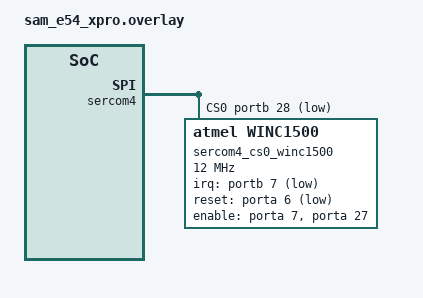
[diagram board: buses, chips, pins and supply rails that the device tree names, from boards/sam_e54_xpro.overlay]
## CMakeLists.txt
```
# SPDX-License-Identifier: Apache-2.0

cmake_minimum_required(VERSION 3.20.0)
find_package(Zephyr REQUIRED HINTS $ENV{ZEPHYR_BASE})
project(blinky)

target_sources(app PRIVATE src/main.c src/producer.c src/consumer.c) 
target_include_directories(app PRIVATE /src) 
```

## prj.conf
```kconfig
CONFIG_GPIO=y

CONFIG_SHELL=y
CONFIG_WIFI=y 
 
CONFIG_WIFI_WINC1500=y 
CONFIG_NETWORKING=y 
CONFIG_NET_IPV4=y 
CONFIG_TEST_RANDOM_GENERATOR=y 
CONFIG_DNS_RESOLVER=y

CONFIG_NET_PKT_RX_COUNT=16 
CONFIG_NET_PKT_TX_COUNT=16 
CONFIG_NET_BUF_RX_COUNT=32 
CONFIG_NET_BUF_TX_COUNT=16 
CONFIG_NET_MAX_CONTEXTS=16 

CONFIG_SPI=y
CONFIG_WIFI_OFFLOAD=y
CONFIG_NET_L2_WIFI_MGMT=y
 
CONFIG_NET_TX_STACK_SIZE=2048 
CONFIG_NET_RX_STACK_SIZE=2048 
CONFIG_NET_SHELL=y 
CONFIG_NET_L2_WIFI_SHELL=y
```

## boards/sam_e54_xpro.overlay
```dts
/
{
	aliases {
	};
};

&pinctrl {
     sercom4_spi_default: sercom4_spi_default {
		group1 {
			pinmux = <PB26D_SERCOM4_PAD1>,
				 <PB27D_SERCOM4_PAD0>,
				 <PB29D_SERCOM4_PAD3>;
		};
	};
};

&sercom4 {
     compatible = "microchip,sercom-g1-spi";
     dipo = <3>;
     dopo = <0>;
     #address-cells = <1>;
     #size-cells = <0>;
     cs-gpios = <&portb 28 GPIO_ACTIVE_LOW>;
     pinctrl-0 = <&sercom4_spi_default>;
     pinctrl-names = "default";
     status = "okay";

     sercom4_cs0_winc1500: WINC1500@0 {
          compatible = "atmel,winc1500";
          reg = <0>;
          spi-max-frequency = <12000000>;
          irq-gpios = <&portb 7 GPIO_ACTIVE_LOW>;
          reset-gpios = <&porta 6 GPIO_ACTIVE_LOW>;
          enable-gpios = <&porta 7 GPIO_ACTIVE_HIGH>,
                         <&porta 27 GPIO_ACTIVE_HIGH>;
          status = "okay";
     };
};
```

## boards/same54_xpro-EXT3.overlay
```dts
/
{
	aliases {
	};
};

&gmac {
    status = "disabled";
};

&pinctrl {
     sercom6_spi_overlay: sercom6_spi_overlay {
		group1 {
			pinmux = <PC5C_SERCOM6_PAD1>,
				 <PC4C_SERCOM6_PAD0>,
				 <PC7C_SERCOM6_PAD3>;
		};
	};
};

&sercom6 {
     compatible = "atmel,sam0-spi";
     dipo = <3>;
     dopo = <0>;
     #address-cells = <1>;
     #size-cells = <0>;
     cs-gpios = <&portc 14 GPIO_ACTIVE_LOW>;
     pinctrl-0 = <&sercom6_spi_overlay>;
     pinctrl-names = "default";
     status = "okay";

     sercom7_cs0_winc1500: WINC1500@0 {
          compatible = "atmel,winc1500";
          reg = <0>;
          spi-max-frequency = <12000000>;
          irq-gpios = <&portc 30 GPIO_ACTIVE_LOW>;
          reset-gpios = <&portc 1 GPIO_ACTIVE_LOW>;
          enable-gpios = <&portc 10 GPIO_ACTIVE_HIGH>,
                         <&portc 31 GPIO_ACTIVE_HIGH>;
          status = "okay";
     };
};
```

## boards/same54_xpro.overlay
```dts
/
{
	aliases {
	};
};

&gmac {
    status = "disabled";
};

&sercom4 {
     compatible = "atmel,sam0-spi";
     dipo = <3>;
     dopo = <0>;
     #address-cells = <1>;
     #size-cells = <0>;
     cs-gpios = <&portb 28 GPIO_ACTIVE_LOW>;
     pinctrl-0 = <&sercom4_spi_default>;
     pinctrl-names = "default";
     status = "okay";

     sercom4_cs0_winc1500: WINC1500@0 {
          compatible = "atmel,winc1500";
          reg = <0>;
          spi-max-frequency = <12000000>;
          irq-gpios = <&portb 7 GPIO_ACTIVE_LOW>;
          reset-gpios = <&porta 6 GPIO_ACTIVE_LOW>;
          enable-gpios = <&porta 7 GPIO_ACTIVE_HIGH>,
                         <&porta 27 GPIO_ACTIVE_HIGH>;
          status = "okay";
     };
};
```

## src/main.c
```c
/*
 * Copyright (c) 2016 Intel Corporation
 *
 * SPDX-License-Identifier: Apache-2.0
 */

#include <stdio.h>
#include <zephyr/kernel.h>
#include <zephyr/drivers/gpio.h>
#include "producer.h" 
#include "consumer.h"

/* 
 * Zephyr Thread defines 
*/ 
#define STACKSIZE 256 
#define PRIORITY 7 
K_THREAD_STACK_DEFINE(producerThreadstack_area, STACKSIZE); 
struct k_thread producerThread_data;
K_THREAD_STACK_DEFINE(consumerThreadstack_area, STACKSIZE); 
struct k_thread consumerThread_data; 


/* The devicetree node identifier for the "led0" alias. */
#define LED0_NODE DT_ALIAS(led0)

/*
 * A build error on this line means your board is unsupported.
 * See the sample documentation for information on how to fix this.
 */
static const struct gpio_dt_spec led = GPIO_DT_SPEC_GET(LED0_NODE, gpios);

struct k_msgq consumerQueue; 
char taskCommsBuffer[4 * sizeof(uint32_t)];

int main(void)
{
	int ret;

	if (!gpio_is_ready_dt(&led)) {
		return 0;
	}

	ret = gpio_pin_configure_dt(&led, GPIO_OUTPUT_ACTIVE);
	if (ret < 0) {
		return 0;
	}

	k_msgq_init(&consumerQueue, taskCommsBuffer, sizeof(uint32_t), 4); 

	k_tid_t producer_tid = k_thread_create(&producerThread_data, 
							producerThreadstack_area,  
							K_THREAD_STACK_SIZEOF(producerThreadstack_area), 
							producerThread, 
							(void*)&led, (void*)&consumerQueue, (void*)NULL, 
							PRIORITY, 0, K_NO_WAIT);

	k_tid_t consumer_tid = k_thread_create(&consumerThread_data, 
							consumerThreadstack_area, 
							K_THREAD_STACK_SIZEOF(consumerThreadstack_area), 
							consumerThread, 
							(void*)&consumerQueue, (void*)NULL, (void*)NULL, 
							PRIORITY, 0, K_NO_WAIT);

k_thread_name_set(producer_tid, (const char *)"producerABBB"); 
k_thread_name_set(consumer_tid, (const char *)"consumer"); 

	while (1) {
		k_msleep(1);
	}
	return 0;
}
```

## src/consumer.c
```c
#include <zephyr/kernel.h> 
#include "consumer.h" 
 
void consumerThread(void* inMsgQueue, void*, void*){ 
 uint32_t data = 0; 
 
 while (1) { 
        struct k_msgq *notifyMsgQueue = (struct k_msgq*)inMsgQueue;
        k_msgq_get(notifyMsgQueue, &data, K_FOREVER);
        //printf("Consumer Thread: %d\n", data);
    } 
}
```

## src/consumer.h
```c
void consumerThread(void* inMsgQueue, void*, void*);
```

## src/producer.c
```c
#include <zephyr/kernel.h> 
#include <zephyr/drivers/gpio.h> 


#include "producer.h" 

void producerThread(void *inLed, void* inMsgQueue, void*) { 
      struct gpio_dt_spec *toggleLED = (struct gpio_dt_spec*)inLed; 
      struct k_msgq *notifyMsgQueue = (struct k_msgq*)inMsgQueue;
      bool led_state = true; 
      int counter = 0; 
      uint32_t data = 0; 

        while (1) { 
           gpio_pin_toggle_dt(toggleLED); 
           led_state = !led_state; 
           //printf("LED state: %s\n", led_state ? "ON" : "OFF"); 
            if(counter++>=10) { 
                k_msgq_put(notifyMsgQueue, &data, K_NO_WAIT); 
                data++; 
                counter = 0; 
            } 
           k_msleep(SLEEP_TIME_MS); 
 } 
}
```

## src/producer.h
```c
#define SLEEP_TIME_MS     250 
void producerThread(void* inLed, void* inMsgQueue, void*);
```
